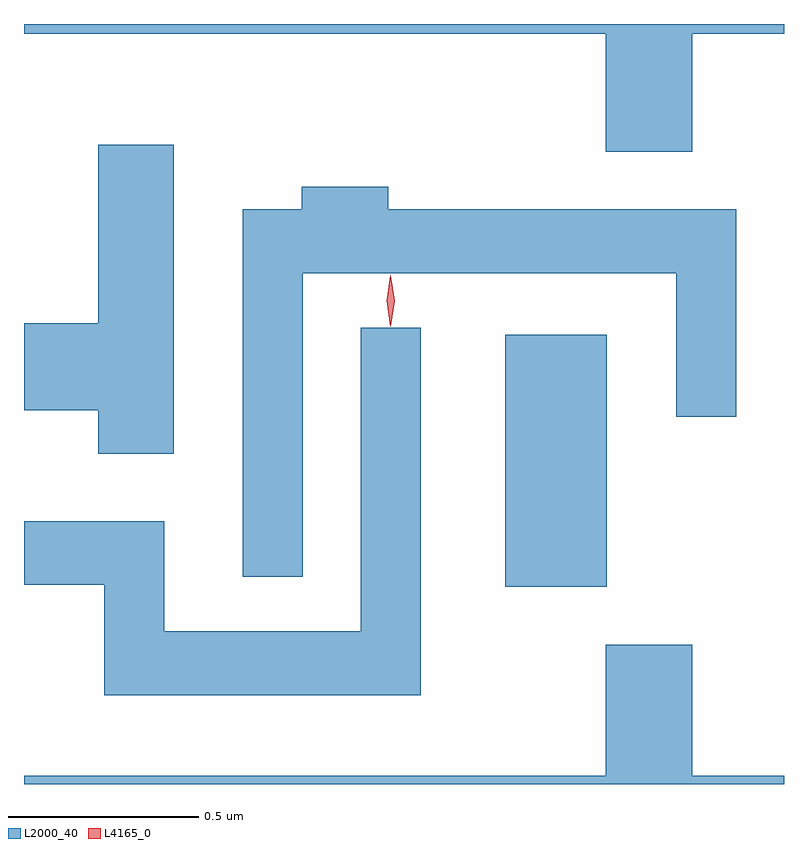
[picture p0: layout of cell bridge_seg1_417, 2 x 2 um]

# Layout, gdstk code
import gdstk
lib = gdstk.Library(unit=1e-6, precision=1e-09)
def R(c, l, rs):  # rectangles x0, y0, x1, y1
    for r in rs: c.add(gdstk.rectangle(r[:2], r[2:], *l))
def P(c, l, *ps):  # polygons
    for p in ps: c.add(gdstk.Polygon(p, *l))
L2000_40 = (2000, 40)
L4165_0 = (4165, 0)

bridge_seg1_417 = lib.new_cell('bridge_seg1_417')
R(bridge_seg1_417, L2000_40, [(573.416,942.521,573.684,943.184)])
P(bridge_seg1_417, L2000_40, [(573.909,943.976),(574.15,943.976),(574.15,944.002),(572.15,944.002),(572.15,943.976),(573.681,943.976),(573.681,943.666),(573.909,943.666)],
  [(572.544,943.684),(572.346,943.684),(572.346,943.214),(572.151,943.214),(572.151,942.986),(572.346,942.986),(572.346,942.871),(572.544,942.871)],
  [(572.884,943.346),(573.866,943.346),(573.866,942.968),(574.024,942.968),(574.024,943.514),(573.109,943.514),(573.109,943.574),(572.881,943.574),(572.881,943.514),(572.726,943.514),(572.726,942.548),(572.884,942.548)],
  [(573.194,943.203),(573.036,943.203),(573.036,942.404),(572.519,942.404),(572.519,942.694),(572.15,942.694),(572.15,942.526),(572.361,942.526),(572.361,942.236),(573.194,942.236)],
  [(574.15,942.024),(573.909,942.024),(573.909,942.369),(573.681,942.369),(573.681,942.024),(572.15,942.024),(572.15,942.002),(574.15,942.002)])
P(bridge_seg1_417, L4165_0, [(573.114,943.207),(573.105,943.274),(573.114,943.34),(573.115,943.341),(573.115,943.34),(573.125,943.274),(573.115,943.207),(573.115,943.207)])

lib.write_gds('bridge_seg1_417.gds')
